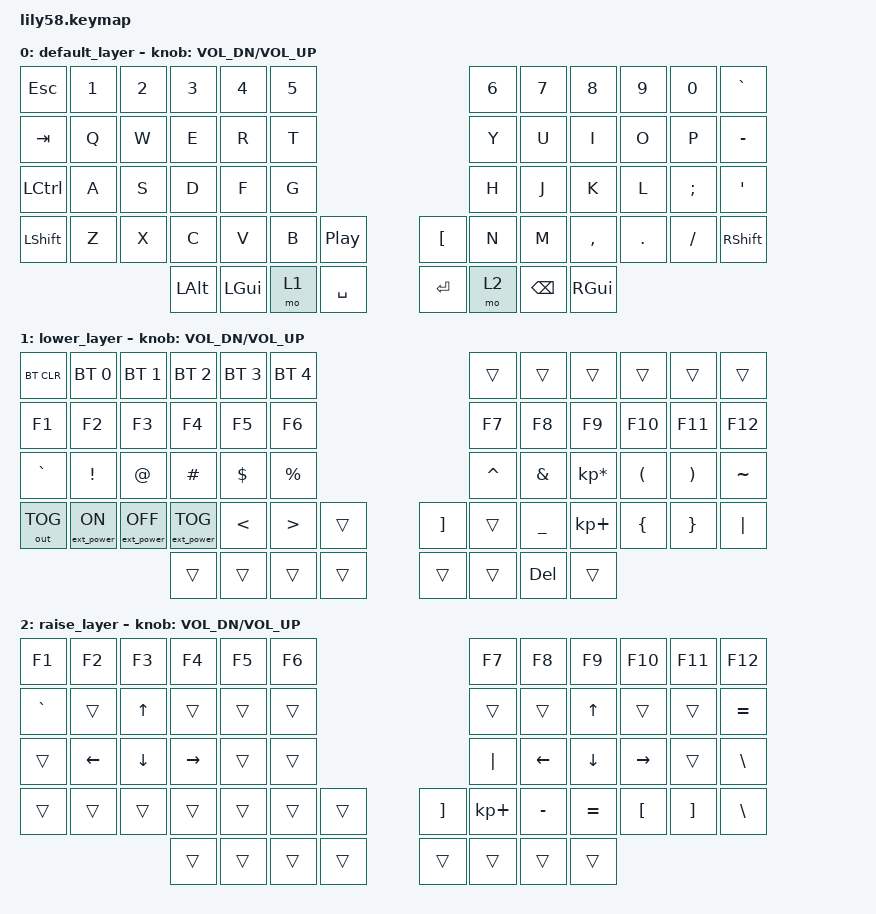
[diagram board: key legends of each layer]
/*
 * Copyright (c) 2020 The ZMK Contributors
 *
 * SPDX-License-Identifier: MIT
 */

#include <behaviors.dtsi>
#include <dt-bindings/zmk/keys.h>
#include <dt-bindings/zmk/bt.h>
#include <dt-bindings/zmk/ext_power.h>
#include <dt-bindings/zmk/outputs.h>

/ {
    keymap {
        compatible = "zmk,keymap";

        default_layer {
// ------------------------------------------------------------------------------------------------------------
// |  ESC  |  1  |  2  |  3   |  4   |  5   |                    |  6   |  7    |  8    |  9   |   0   |   `   |
// |  TAB  |  Q  |  W  |  E   |  R   |  T   |                    |  Y   |  U    |  I    |  O   |   P   |   -   |
// |  CTRL |  A  |  S  |  D   |  F   |  G   |                    |  H   |  J    |  K    |  L   |   ;   |   '   |
// | SHIFT |  Z  |  X  |  C   |  V   |  B   | PLAY |  |  "["     |  N   |  M    |  ,    |  .   |   /   | SHIFT |
//                     | ALT  | GUI  | LOWER|  SPACE |  | ENTER | RAISE| BSPC  | GUI   |
            bindings = <
&kp ESC   &kp N1 &kp N2 &kp N3   &kp N4   &kp N5                              &kp N6 &kp N7   &kp N8    &kp N9  &kp N0   &kp GRAVE
&kp TAB   &kp Q  &kp W  &kp E    &kp R    &kp T                               &kp Y  &kp U    &kp I     &kp O   &kp P    &kp MINUS
&kp LCTRL &kp A  &kp S  &kp D    &kp F    &kp G                               &kp H  &kp J    &kp K     &kp L   &kp SEMI &kp SQT
&kp LSHFT &kp Z  &kp X  &kp C    &kp V    &kp B  &kp C_PP           &kp LBKT  &kp N  &kp M    &kp COMMA &kp DOT &kp FSLH &kp RSHFT
                        &kp LALT &kp LGUI &mo 1  &kp SPACE          &kp RET   &mo 2  &kp BSPC &kp RGUI
            >;

            sensor-bindings = <&inc_dec_kp C_VOL_DN C_VOL_UP>;
        };

        lower_layer {
// ------------------------------------------------------------------------------------------------------------
// | BTCLR | BT1 | BT2 |  BT3 |  BT4 |  BT5 |                    |      |       |       |      |       |       |
// |  F1   |  F2 |  F3 |  F4  |  F5  |  F6  |                    |  F7  |  F8   |  F9   |  F10 |  F11  |  F12  |
// |   `   |  !  |  @  |  #   |  $   |  %   |                    |  ^   |  &    |  *    |  (   |   )   |   ~   |
// |OUT_TOG| EPON| EPOFF|EPTOG|  <   |  >   |        |  |   ]    |      |  _    |  +    |  {   |   }   |  "|"  |
//                     |      |      |      |        |  |        |      |  DEL  |       |
            bindings = <
&bt BT_CLR   &bt BT_SEL 0     &bt BT_SEL 1     &bt BT_SEL 2     &bt BT_SEL 3 &bt BT_SEL 4                 &trans    &trans    &trans          &trans    &trans    &trans
&kp F1       &kp F2           &kp F3           &kp F4           &kp F5       &kp F6                       &kp F7    &kp F8    &kp F9          &kp F10   &kp F11   &kp F12
&kp GRAVE    &kp EXCL         &kp AT           &kp HASH         &kp DOLLAR   &kp PRCNT                    &kp CARET &kp AMPS  &kp KP_MULTIPLY &kp LPAR  &kp RPAR  &kp TILDE
&out OUT_TOG &ext_power EP_ON &ext_power EP_OFF &ext_power EP_TOG &kp LT      &kp GT    &trans   &kp RBKT  &trans    &kp UNDER &kp KP_PLUS     &kp LBRC  &kp RBRC  &kp PIPE
                                               &trans           &trans       &trans    &trans   &trans    &trans    &kp DEL   &trans
            >;

            sensor-bindings = <&inc_dec_kp C_VOL_DN C_VOL_UP>;
        };

        raise_layer {
// ------------------------------------------------------------------------------------------------------------
// |  F1   |  F2 |  F3 |  F4  |  F5  |  F6  |                    |  F7  |  F8   |  F9   |  F10 |  F11  |  F12  |
// |   `   |     |  UP |      |      |      |                    |      |       |  UP   |      |       |   =   |
// |       | LEFT| DOWN| RIGHT|      |      |                    |  |   |  LEFT | DOWN  | RIGHT|       |   \   |
// |       |     |     |      |      |      |        |  |   ]    |  +   |  -    |  =    |  [   |   ]   |   \   |
//                     |      |      |      |        |  |        |      |       |       |
            bindings = <
&kp F1    &kp F2   &kp F3   &kp F4    &kp F5  &kp F6                       &kp F7      &kp F8    &kp F9    &kp F10   &kp F11 &kp F12
&kp GRAVE &trans   &kp UP   &trans    &trans  &trans                       &trans      &trans    &kp UP    &trans    &trans  &kp EQUAL
&trans    &kp LEFT &kp DOWN &kp RIGHT &trans  &trans                       &kp PIPE    &kp LEFT  &kp DOWN  &kp RIGHT &trans  &kp BSLH
&trans    &trans   &trans   &trans    &trans  &trans  &trans   &kp RBKT    &kp KP_PLUS &kp MINUS &kp EQUAL &kp LBKT  &kp RBKT &kp BSLH
                            &trans    &trans  &trans  &trans   &trans      &trans      &trans    &trans
            >;

            sensor-bindings = <&inc_dec_kp C_VOL_DN C_VOL_UP>;
        };
    };
};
